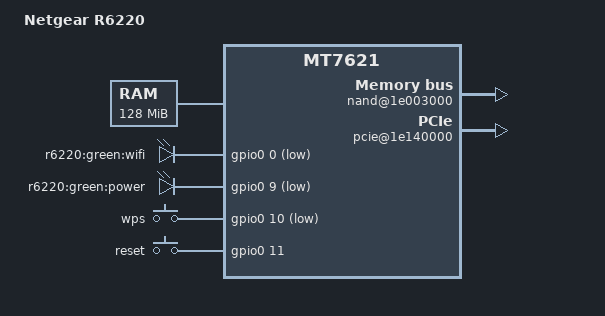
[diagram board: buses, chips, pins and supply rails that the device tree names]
/dts-v1/;

/include/ "mt7621s.dtsi"

/ {
	compatible = "mediatek,mt7621-eval-board", "mediatek,mt7621-soc";
	model = "Netgear R6220";

	cpus {
		cpu@0 {
			compatible = "mips,mips1004Kc";
		};
	};

	memory@0 {
		device_type = "memory";
		reg = <0x0 0x8000000>;
	};

	chosen {
		bootargs = "console=ttyS0,57600";
	};

	pinctrl {
		state_default: pinctrl0 {
			gpio {
				ralink,group = "i2c";
				ralink,function = "gpio";
			};
		};
	};

	nand@1e003000 {
		#address-cells = <1>;
		#size-cells = <1>;
		compatible = "mtk,mt7621-nand";

		partition@0 {
			label = "uboot";
			reg = <0x0 0x100000>;
			read-only;
		};

		partition@200000 {
			label = "rootfs";
			reg = <0x200000 0x2000000>;
			read-only;
		};

		factory: partition@2d00000 {
			label = "factory";
			reg = <0x2d00000 0x100000>;
			read-only;
		};

	};

	pcie@1e140000 {
		status = "okay";

		pcie0 {
			mt76@0,0 {
				reg = <0x0000 0 0 0 0>;
				device_type = "pci";
				mediatek,mtd-eeprom = <&factory 0x0004>;
				mediatek,2ghz = <0>;
			};
		};

		pcie1 {
			mt76@1,0 {
				reg = <0x0000 0 0 0 0>;
				device_type = "pci";
				mediatek,mtd-eeprom = <&factory 0x8004>;
				mediatek,5ghz = <0>;
			};
		};
	};

	gpio-leds {
		compatible = "gpio-leds";

		wifi {
			label = "r6220:green:wifi";
			gpios = <&gpio0 0 1>;
		};

		power {
			label = "r6220:green:power";
			gpios = <&gpio0 9 1>;
		};
	};

	gpio-keys-polled {
		compatible = "gpio-keys-polled";
		#address-cells = <1>;
		#size-cells = <0>;
		poll-interval = <20>;

		wps {
			label = "wps";
			gpios = <&gpio0 10 1>;
			linux,code = <0x211>;
		};

		reset {
			label = "reset";
			gpios = <&gpio0 11 0>;
			linux,code = <0x198>;
		};
	};
};
